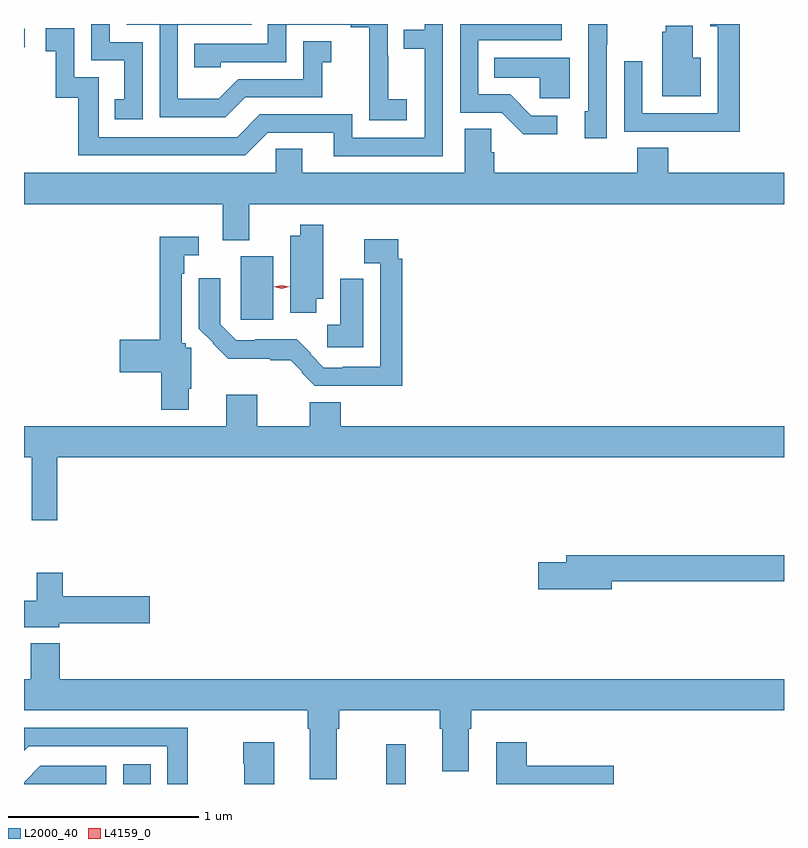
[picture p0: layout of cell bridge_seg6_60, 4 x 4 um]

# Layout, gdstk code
import gdstk
lib = gdstk.Library(unit=1e-6, precision=1e-09)
def R(c, l, rs):  # rectangles x0, y0, x1, y1
    for r in rs: c.add(gdstk.rectangle(r[:2], r[2:], *l))
def P(c, l, *ps):  # polygons
    for p in ps: c.add(gdstk.Polygon(p, *l))
L2000_40 = (2000, 40)
L4159_0 = (4159, 0)

bridge_seg6_60 = lib.new_cell('bridge_seg6_60')
R(bridge_seg6_60, L2000_40, [(781.866,970.924,782.012,971.029), (783.25,970.924,783.353,971.134), (782.486,973.368,782.656,973.702), (781.344,974.802,781.348,974.898)])
P(bridge_seg6_60, L2000_40, [(784.15,974.442),(784.015,974.442),(783.904,974.553),(783.735,974.553),(783.735,974.838),(784.174,974.838),(784.174,974.924),(783.639,974.924),(783.639,974.457),(783.858,974.457),(783.971,974.345),(784.15,974.345)],
  [(784.41,974.815),(784.413,974.815),(784.413,974.924),(784.313,974.924),(784.313,974.77),(784.314,974.77),(784.314,974.466),(784.295,974.466),(784.295,974.322),(784.41,974.322)],
  [(783.549,974.924),(783.453,974.924),(783.453,974.895),(783.343,974.895),(783.343,974.794),(783.453,974.794),(783.453,974.325),(783.072,974.325),(783.072,974.448),(782.586,974.448),(782.466,974.328),(781.737,974.328),(781.737,974.643),(781.608,974.643),(781.608,974.902),(781.458,974.902),(781.458,974.781),(781.511,974.781),(781.511,974.535),(781.629,974.535),(781.629,974.232),(782.508,974.232),(782.628,974.352),(782.975,974.352),(782.975,974.229),(783.549,974.229)],
  [(785.111,974.924),(784.955,974.924),(784.955,974.911),(784.995,974.911),(784.995,974.454),(784.599,974.454),(784.599,974.728),(784.503,974.728),(784.503,974.358),(784.819,974.358),(784.819,974.357),(785.111,974.357)],
  [(782.509,974.538),(782.913,974.538),(782.913,974.723),(782.962,974.723),(782.962,974.833),(782.814,974.833),(782.814,974.634),(782.472,974.634),(782.368,974.53),(782.154,974.53),(782.154,974.919),(782.543,974.919),(782.543,974.924),(781.884,974.924),(781.884,974.919),(782.058,974.919),(782.058,974.433),(782.404,974.433)],
  [(781.968,974.829),(781.794,974.829),(781.794,974.924),(781.698,974.924),(781.698,974.733),(781.871,974.733),(781.871,974.529),(781.822,974.529),(781.822,974.424),(781.968,974.424)],
  [(783.358,974.527),(783.26,974.527),(783.26,974.756),(783.258,974.756),(783.258,974.924),(782.628,974.924),(782.628,974.82),(782.239,974.82),(782.239,974.697),(782.379,974.697),(782.379,974.724),(782.724,974.724),(782.724,974.919),(783.065,974.919),(783.065,974.907),(783.161,974.907),(783.161,974.623),(783.16,974.623),(783.16,974.417),(783.358,974.417)],
  [(784.906,974.746),(784.864,974.746),(784.864,974.914),(784.721,974.914),(784.721,974.883),(784.703,974.883),(784.703,974.543),(784.906,974.543)],
  [(784.216,974.746),(783.82,974.746),(783.82,974.642),(784.059,974.642),(784.059,974.534),(784.216,974.534)],
  [(782.53,973.976),(785.344,973.976),(785.344,974.14),(784.736,974.14),(784.736,974.273),(784.571,974.273),(784.571,974.14),(783.818,974.14),(783.818,974.249),(783.804,974.249),(783.804,974.372),(783.665,974.372),(783.665,974.14),(782.809,974.14),(782.809,974.267),(782.67,974.267),(782.67,974.14),(781.344,974.14),(781.344,973.976),(782.39,973.976),(782.39,973.787),(782.53,973.787)],
  [(782.881,973.478),(782.92,973.478),(782.92,973.867),(782.798,973.867),(782.798,973.81),(782.744,973.81),(782.744,973.404),(782.881,973.404)],
  [(782.212,973.003),(782.225,973.003),(782.225,973.221),(782.196,973.221),(782.196,973.245),(782.175,973.245),(782.175,973.61),(782.187,973.61),(782.187,973.707),(782.263,973.707),(782.263,973.804),(782.059,973.804),(782.059,973.262),(781.848,973.262),(781.848,973.091),(782.066,973.091),(782.066,972.893),(782.212,972.893)],
  [(783.335,973.688),(783.315,973.688),(783.315,973.792),(783.136,973.792),(783.136,973.664),(783.219,973.664),(783.219,973.12),(783.022,973.12),(783.022,973.116),(782.922,973.116),(782.85,973.188),(782.853,973.191),(782.779,973.265),(782.56,973.265),(782.56,973.26),(782.46,973.26),(782.376,973.344),(782.376,973.585),(782.264,973.585),(782.264,973.321),(782.339,973.246),(782.338,973.245),(782.419,973.163),(782.639,973.163),(782.639,973.155),(782.747,973.155),(782.809,973.093),(782.805,973.089),(782.875,973.019),(783.335,973.019)],
  [(783.13,973.583),(783.008,973.583),(783.008,973.342),(782.94,973.342),(782.94,973.222),(783.13,973.222)],
  [(781.52,972.644),(785.344,972.644),(785.344,972.808),(783.01,972.808),(783.01,972.934),(782.849,972.934),(782.849,972.808),(782.572,972.808),(782.572,972.973),(782.408,972.973),(782.408,972.808),(781.344,972.808),(781.344,972.644),(781.384,972.644),(781.384,972.312),(781.52,972.312)],
  [(784.438,971.992),(785.344,971.992),(785.344,972.128),(784.199,972.128),(784.199,972.092),(784.05,972.092),(784.05,971.95),(784.438,971.95)],
  [(781.53,971.77),(782.005,971.77),(782.005,971.912),(781.547,971.912),(781.547,972.037),(781.412,972.037),(781.412,971.888),(781.344,971.888),(781.344,971.75),(781.53,971.75)],
  [(781.532,971.665),(781.379,971.665),(781.379,971.476),(781.344,971.476),(781.344,971.312),(782.837,971.312),(782.837,971.216),(782.849,971.216),(782.849,970.95),(782.989,970.95),(782.989,971.216),(783.002,971.216),(783.002,971.312),(783.533,971.312),(783.533,971.216),(783.545,971.216),(783.545,970.992),(783.685,970.992),(783.685,971.216),(783.698,971.216),(783.698,971.312),(785.344,971.312),(785.344,971.476),(781.532,971.476)],
  [(782.206,971.22),(781.344,971.22),(781.344,971.1),(781.368,971.124),(782.097,971.124),(782.097,970.924),(782.206,970.924)],
  [(782.662,971.143),(782.497,971.143),(782.497,971.03),(782.504,971.03),(782.504,970.924),(782.662,970.924)],
  [(784.447,971.019),(783.989,971.019),(783.989,971.143),(783.83,971.143),(783.83,970.924),(784.447,970.924)],
  [(781.776,971.019),(781.43,971.019),(781.344,970.933),(781.344,970.924),(781.776,970.924)])
P(bridge_seg6_60, L4159_0, [(782.7,973.53),(782.659,973.54),(782.659,973.54),(782.659,973.54),(782.7,973.55),(782.741,973.541),(782.741,973.541),(782.741,973.54)])

lib.write_gds('bridge_seg6_60.gds')
